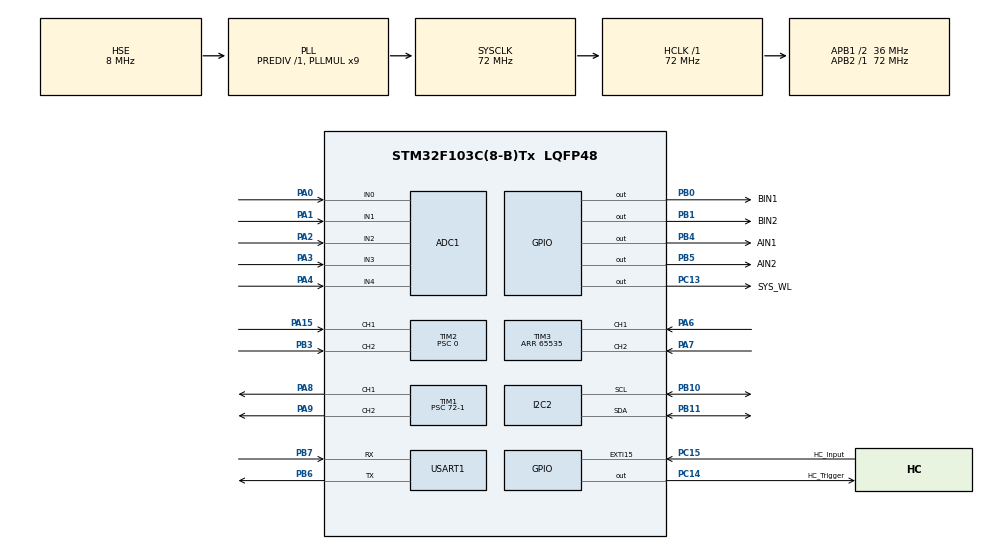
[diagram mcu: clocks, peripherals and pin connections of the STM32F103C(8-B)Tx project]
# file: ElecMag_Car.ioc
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ADC1.Channel-0\#ChannelRegularConversion=ADC_CHANNEL_0
ADC1.Channel-1\#ChannelRegularConversion=ADC_CHANNEL_1
ADC1.Channel-2\#ChannelRegularConversion=ADC_CHANNEL_2
ADC1.Channel-3\#ChannelRegularConversion=ADC_CHANNEL_3
ADC1.Channel-4\#ChannelRegularConversion=ADC_CHANNEL_4
ADC1.ContinuousConvMode=ENABLE
ADC1.EnableAnalogWatchDog=false
ADC1.NbrOfConversion=5
ADC1.NbrOfConversionFlag=1
ADC1.Rank-0\#ChannelRegularConversion=1
ADC1.Rank-1\#ChannelRegularConversion=2
ADC1.Rank-2\#ChannelRegularConversion=3
ADC1.Rank-3\#ChannelRegularConversion=4
ADC1.Rank-4\#ChannelRegularConversion=5
ADC1.SamplingTime-0\#ChannelRegularConversion=ADC_SAMPLETIME_7CYCLES_5
ADC1.SamplingTime-1\#ChannelRegularConversion=ADC_SAMPLETIME_7CYCLES_5
ADC1.SamplingTime-2\#ChannelRegularConversion=ADC_SAMPLETIME_7CYCLES_5
ADC1.SamplingTime-3\#ChannelRegularConversion=ADC_SAMPLETIME_7CYCLES_5
ADC1.SamplingTime-4\#ChannelRegularConversion=ADC_SAMPLETIME_7CYCLES_5
ADC1.master=1
Dma.ADC1.0.Direction=DMA_PERIPH_TO_MEMORY
Dma.ADC1.0.Instance=DMA1_Channel1
Dma.ADC1.0.MemDataAlignment=DMA_MDATAALIGN_HALFWORD
Dma.ADC1.0.MemInc=DMA_MINC_ENABLE
Dma.ADC1.0.Mode=DMA_CIRCULAR
Dma.ADC1.0.PeriphDataAlignment=DMA_PDATAALIGN_HALFWORD
Dma.ADC1.0.PeriphInc=DMA_PINC_DISABLE
Dma.ADC1.0.Priority=DMA_PRIORITY_LOW
Dma.Request0=ADC1
Mcu.Family=STM32F1
Mcu.Name=STM32F103C(8-B)Tx
Mcu.Package=LQFP48
NVIC.DMA1_Channel1_IRQn=true\:0\:0\:false\:false\:true\:false\:true\:true
NVIC.EXTI15_10_IRQn=true\:0\:0\:true\:false\:true\:true\:true\:true
NVIC.PriorityGroup=NVIC_PRIORITYGROUP_4
NVIC.TIM4_IRQn=true\:0\:0\:true\:false\:true\:true\:true\:true
PA0-WKUP.Signal=ADCx_IN0
PA1.Signal=ADCx_IN1
PA13.Mode=Serial_Wire
PA13.Signal=SYS_JTMS-SWDIO
PA14.Mode=Serial_Wire
PA14.Signal=SYS_JTCK-SWCLK
PA15.Signal=S_TIM2_CH1_ETR
PA2.Signal=ADCx_IN2
PA3.Signal=ADCx_IN3
PA4.Signal=ADCx_IN4
PA6.Signal=S_TIM3_CH1
PA7.Signal=S_TIM3_CH2
PA8.Signal=S_TIM1_CH1
PA9.Signal=S_TIM1_CH2
PB0.GPIO_Label=BIN1
PB0.GPIO_Speed=GPIO_SPEED_FREQ_LOW
PB0.Signal=GPIO_Output
PB1.GPIO_Label=BIN2
PB1.GPIO_Speed=GPIO_SPEED_FREQ_LOW
PB1.Signal=GPIO_Output
PB10.Mode=I2C
PB10.Signal=I2C2_SCL
PB11.Mode=I2C
PB11.Signal=I2C2_SDA
PB3.Signal=S_TIM2_CH2
PB4.GPIO_Label=AIN1
PB4.GPIO_PuPd=GPIO_NOPULL
PB4.GPIO_Speed=GPIO_SPEED_FREQ_LOW
PB4.PinState=GPIO_PIN_RESET
PB4.Signal=GPIO_Output
PB5.GPIO_Label=AIN2
PB5.GPIO_Speed=GPIO_SPEED_FREQ_LOW
PB5.Signal=GPIO_Output
PB6.Mode=Asynchronous
PB6.Signal=USART1_TX
PB7.Mode=Asynchronous
PB7.Signal=USART1_RX
PC13-TAMPER-RTC.GPIO_Label=SYS_WL
PC13-TAMPER-RTC.GPIO_ModeDefaultOutputPP=GPIO_MODE_OUTPUT_PP
PC13-TAMPER-RTC.GPIO_PuPd=GPIO_PULLDOWN
PC13-TAMPER-RTC.PinState=GPIO_PIN_RESET
PC13-TAMPER-RTC.Signal=GPIO_Output
PC14-OSC32_IN.GPIO_Label=HC_Trigger
PC14-OSC32_IN.GPIO_ModeDefaultOutputPP=GPIO_MODE_OUTPUT_PP
PC14-OSC32_IN.GPIO_PuPd=GPIO_PULLUP
PC14-OSC32_IN.GPIO_Speed=GPIO_SPEED_FREQ_MEDIUM
PC14-OSC32_IN.Signal=GPIO_Output
PC15-OSC32_OUT.GPIO_Label=HC_Input
PC15-OSC32_OUT.GPIO_ModeDefaultEXTI=GPIO_MODE_IT_RISING_FALLING
PC15-OSC32_OUT.Signal=GPXTI15
PD0-OSC_IN.Mode=HSE-External-Oscillator
PD0-OSC_IN.Signal=RCC_OSC_IN
PD1-OSC_OUT.Mode=HSE-External-Oscillator
PD1-OSC_OUT.Signal=RCC_OSC_OUT
ProjectManager.HeapSize=0x200
ProjectManager.StackSize=0x400
ProjectManager.TargetToolchain=STM32CubeIDE
RCC.ADCPresc=RCC_ADCPCLK2_DIV6
RCC.AHBFreq_Value=72000000
RCC.APB1CLKDivider=RCC_HCLK_DIV2
RCC.APB1Freq_Value=36000000
RCC.APB1TimFreq_Value=72000000
RCC.APB2Freq_Value=72000000
RCC.APB2TimFreq_Value=72000000
RCC.HCLKFreq_Value=72000000
RCC.PLLMUL=RCC_PLL_MUL9
RCC.PLLSourceVirtual=RCC_PLLSOURCE_HSE
RCC.SYSCLKFreq_VALUE=72000000
RCC.SYSCLKSource=RCC_SYSCLKSOURCE_PLLCLK
RCC.USBFreq_Value=72000000
SH.ADCx_IN0.0=ADC1_IN0,IN0
SH.ADCx_IN1.0=ADC1_IN1,IN1
SH.ADCx_IN2.0=ADC1_IN2,IN2
SH.ADCx_IN3.0=ADC1_IN3,IN3
SH.ADCx_IN4.0=ADC1_IN4,IN4
SH.S_TIM1_CH1.0=TIM1_CH1,PWM Generation1 CH1
SH.S_TIM1_CH2.0=TIM1_CH2,PWM Generation2 CH2
SH.S_TIM2_CH1_ETR.0=TIM2_CH1,Encoder_Interface
SH.S_TIM2_CH2.0=TIM2_CH2,Encoder_Interface
SH.S_TIM3_CH1.0=TIM3_CH1,Encoder_Interface
SH.S_TIM3_CH2.0=TIM3_CH2,Encoder_Interface
TIM1.Channel-PWM\ Generation1\ CH1=TIM_CHANNEL_1
TIM1.Channel-PWM\ Generation2\ CH2=TIM_CHANNEL_2
TIM1.Period=125-1
TIM1.Prescaler=72-1
TIM2.EncoderMode=TIM_ENCODERMODE_TI12
TIM2.IC1Filter=1
TIM2.IC2Filter=1
TIM2.Period=65535
TIM2.Prescaler=0
TIM3.EncoderMode=TIM_ENCODERMODE_TI12
TIM3.IC1Filter=1
TIM3.IC2Filter=1
TIM3.Period=65535
TIM4.Period=65535
TIM4.Prescaler=72-1
USART1.VirtualMode=VM_ASYNC
VP_TIM1_VS_ClockSourceINT.Mode=Internal
VP_TIM4_VS_ClockSourceINT.Mode=Internal
board=custom

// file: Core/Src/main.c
/* USER CODE BEGIN Header */
/**
  ******************************************************************************
  * @file           : main.c
  * @brief          : Main program body
  ******************************************************************************
  * @attention
  *
  * Copyright (c) 2025 STMicroelectronics.
  * All rights reserved.
  *
  * This software is licensed under terms that can be found in the LICENSE file
  * in the root directory of this software component.
  * If no LICENSE file comes with this software, it is provided AS-IS.
  *
  ******************************************************************************
  */
/* USER CODE END Header */
#include "main.h"
#include "adc.h"
#include "dma.h"
#include "i2c.h"
#include "tim.h"
#include "usart.h"
#include "gpio.h"

/* USER CODE BEGIN Includes */
#include "motor.h"
#include "uart_vofa.h"
#include "sensor.h"
#include "pid.h"
#include "tracker.h"
#include "ultransonic.h" // Finally i did this. 25/10/24 -_-.
#include "stdbool.h" // for some nil boy wanna to using bool type.
#include "math.h"
/* USER CODE END Includes */

/* USER CODE BEGIN PV */
float debug_data[4] = {0};
/* USER CODE END PV */

void SystemClock_Config(void);

int main(void)
{

  /* MCU Configuration--------------------------------------------------------*/

  /* Reset of all peripherals, Initializes the Flash interface and the Systick. */
  HAL_Init();

  /* Configure the system clock */
  SystemClock_Config();

  /* Initialize all configured peripherals */
  MX_GPIO_Init();
  MX_DMA_Init();
  MX_TIM1_Init();
  MX_USART1_UART_Init();
  MX_TIM2_Init();
  MX_TIM3_Init();
  MX_I2C2_Init();
  MX_TIM4_Init();
  MX_ADC1_Init();
  /* USER CODE BEGIN 2 */
  #pragma region Initialization
  __HAL_RCC_AFIO_CLK_ENABLE();
  __HAL_AFIO_REMAP_SWJ_DISABLE();
  Sensor_Init();
  Motor_Init();
  // Tracker_Init();
  #pragma endregion

  /* USER CODE END 2 */

  /* Infinite loop */
  /* USER CODE BEGIN WHILE */
  while (1)
  {
    #pragma region Sensor
    // 传感器数据更新
    Sensor_Updater();
    Get_Motor_Info();
    #pragma endregion

    #pragma region Track
    // Tracker_Compute();
    #pragma endregion

    #pragma region Debug // ?如果你想在这里用的话

    // debug_data[0] = motor_left_data.filtered_speed;
    // debug_data[1] = motor_right_data.filtered_speed;
    // debug_data[2] = motor_left_data.angle;
    // debug_data[3] = motor_right_data.angle;
    // VOFA_SendFloat(debug_data, 4);
    #pragma endregion
    /* USER CODE END WHILE */

  }
}

void SystemClock_Config(void)
{
  RCC_OscInitTypeDef RCC_OscInitStruct = {0};
  RCC_ClkInitTypeDef RCC_ClkInitStruct = {0};
  RCC_PeriphCLKInitTypeDef PeriphClkInit = {0};

  /** Initializes the RCC Oscillators according to the specified parameters
  * in the RCC_OscInitTypeDef structure.
  */
  RCC_OscInitStruct.OscillatorType = RCC_OSCILLATORTYPE_HSE;
  RCC_OscInitStruct.HSEState = RCC_HSE_ON;
  RCC_OscInitStruct.HSEPredivValue = RCC_HSE_PREDIV_DIV1;
  RCC_OscInitStruct.HSIState = RCC_HSI_ON;
  RCC_OscInitStruct.PLL.PLLState = RCC_PLL_ON;
  RCC_OscInitStruct.PLL.PLLSource = RCC_PLLSOURCE_HSE;
  RCC_OscInitStruct.PLL.PLLMUL = RCC_PLL_MUL9;
  if (HAL_RCC_OscConfig(&RCC_OscInitStruct) != HAL_OK)
  {
    Error_Handler();
  }

  /** Initializes the CPU, AHB and APB buses clocks
  */
  RCC_ClkInitStruct.ClockType = RCC_CLOCKTYPE_HCLK|RCC_CLOCKTYPE_SYSCLK
                              |RCC_CLOCKTYPE_PCLK1|RCC_CLOCKTYPE_PCLK2;
  RCC_ClkInitStruct.SYSCLKSource = RCC_SYSCLKSOURCE_PLLCLK;
  RCC_ClkInitStruct.AHBCLKDivider = RCC_SYSCLK_DIV1;
  RCC_ClkInitStruct.APB1CLKDivider = RCC_HCLK_DIV2;
  RCC_ClkInitStruct.APB2CLKDivider = RCC_HCLK_DIV1;

  if (HAL_RCC_ClockConfig(&RCC_ClkInitStruct, FLASH_LATENCY_2) != HAL_OK)
  {
    Error_Handler();
  }
  PeriphClkInit.PeriphClockSelection = RCC_PERIPHCLK_ADC;
  PeriphClkInit.AdcClockSelection = RCC_ADCPCLK2_DIV6;
  if (HAL_RCCEx_PeriphCLKConfig(&PeriphClkInit) != HAL_OK)
  {
    Error_Handler();
  }
}

void Error_Handler(void)
{
  __disable_irq();
  while (1)
  {
  }
}
